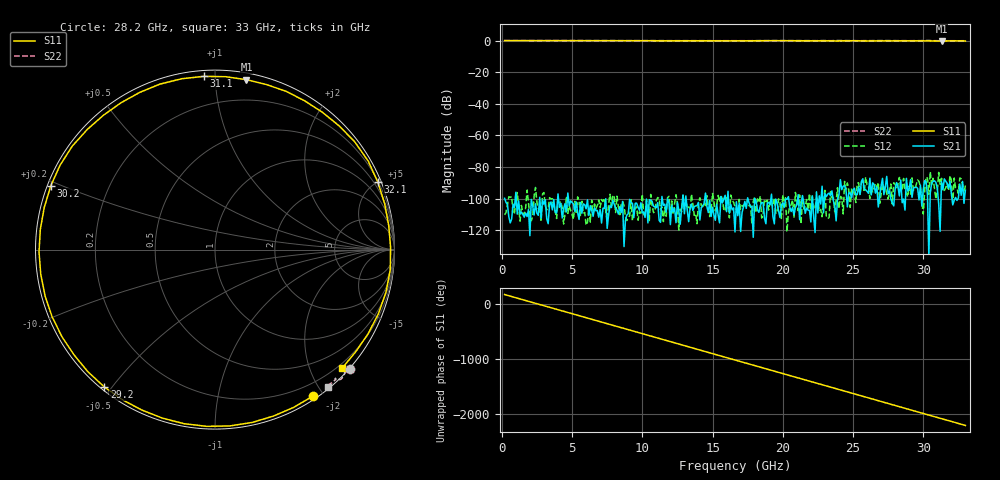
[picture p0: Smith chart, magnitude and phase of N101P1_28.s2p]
# GHZ S RI R 50
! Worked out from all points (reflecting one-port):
!   329 points, 200 MHz to 33 GHz, reference 50 ohm
!   lowest |S11| = -0.3 dB at 31.3 GHz (marker M1), VSWR 52.70, Z = 2.32 + j60.1 ohm
!   phase of S11 starts at 165 deg and turns -2368 deg over the sweep
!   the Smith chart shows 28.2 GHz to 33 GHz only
!   S11 on the Smith chart (normalised r, x): 28.2 GHz: 0.04, -1.87; 29.2 GHz: 0.01, -0.48; 30.2 GHz: 0.01, +0.19; 31.1 GHz: 0.03, +0.94; 32.1 GHz: 0.24, +5.03; 33 GHz: 0.12, -2.53
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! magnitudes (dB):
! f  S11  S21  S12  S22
! 200 MHz  0.0  -99.7  -110.2  0.0
! 5.7 GHz  -0.1  -109.2  -101.5  0.0
! 11.2 GHz  -0.2  -113.6  -99.7  0.0
! 15 GHz  -0.2  -105.4  -96.6  -0.1
! 16.3 GHz  -0.2  -103.6  -97.6  0.0
! 16.6 GHz  -0.2  -120.9  -105.0  -0.1
! 18.6 GHz  -0.1  -102.5  -109.4  0.0
! 22.1 GHz  -0.1  -98.2  -97.5  -0.1
! 23.3 GHz  -0.1  -96.4  -112.0  -0.1
! 23.9 GHz  -0.3  -100.2  -93.0  0.0
! 24.2 GHz  -0.1  -94.2  -99.1  0.0
! 24.6 GHz  -0.2  -105.1  -90.0  -0.1
! 24.9 GHz  -0.1  -99.4  -93.3  -0.1
! 25.7 GHz  -0.3  -87.4  -88.9  -0.1
! 27.6 GHz  -0.2  -95.1  -94.9  0.0
! 28.2 GHz  -0.2  -92.0  -90.8  0.0
! 29.2 GHz  -0.2  -99.0  -86.8  -0.1
! 30.2 GHz  -0.2  -89.1  -86.2  0.1
! 31.1 GHz  -0.3  -103.0  -83.4  -0.1
! 31.3 GHz  -0.3  -89.1  -87.1  -0.1
! 32.1 GHz  -0.2  -103.9  -103.2  -0.1
! 33 GHz  -0.3  -94.6  -91.4  -0.1
